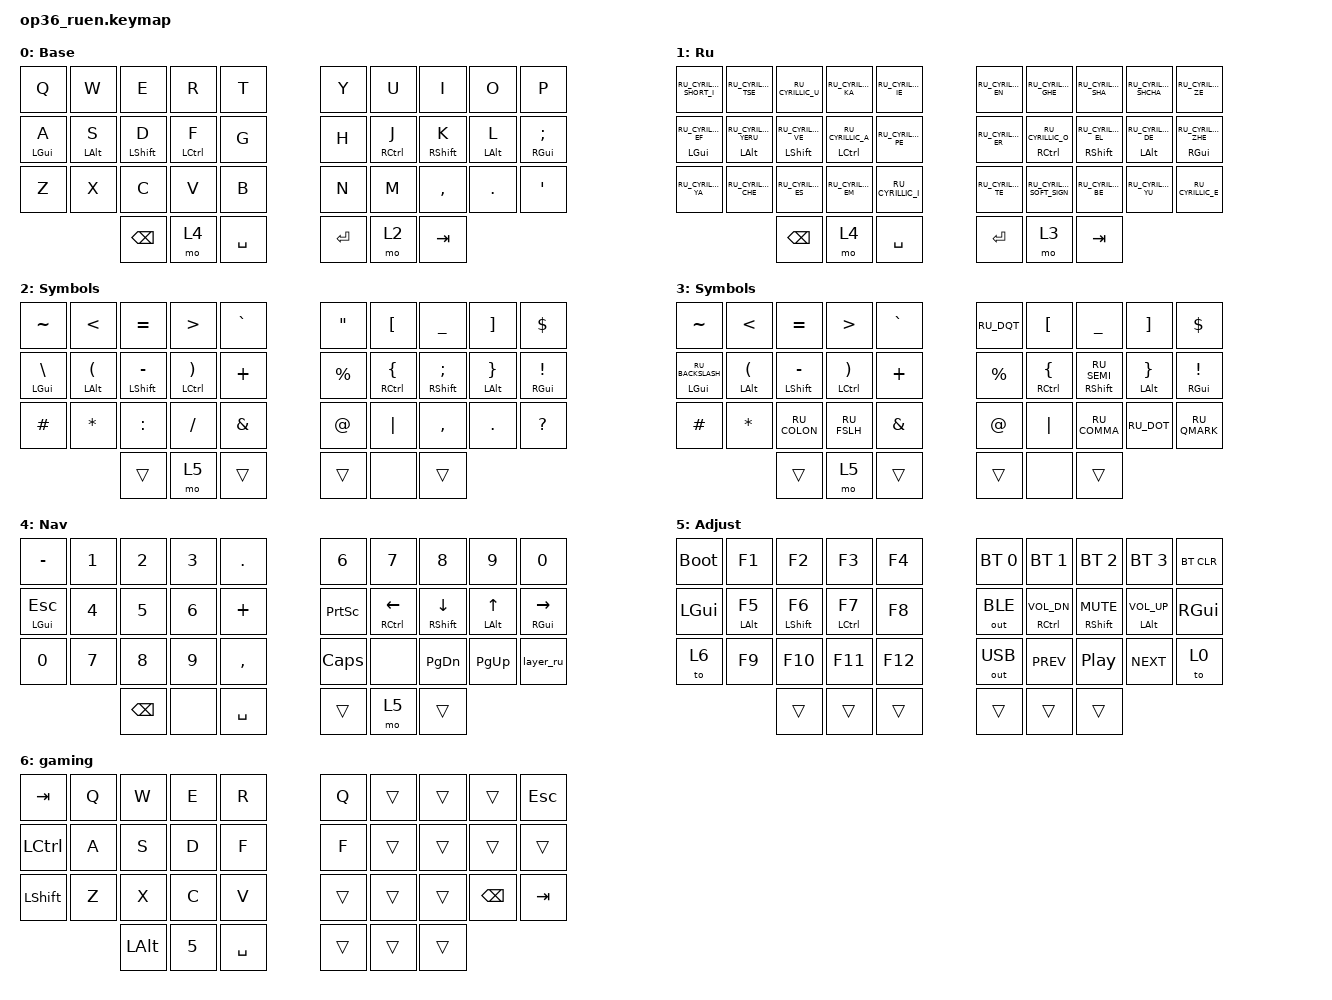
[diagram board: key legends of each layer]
#include "keys_ru.h"
#include "keys_ru.h"
#include <behaviors.dtsi>
#include <dt-bindings/zmk/bt.h>
#include <dt-bindings/zmk/keys.h>
#include <dt-bindings/zmk/outputs.h>

&mt {
    quick-tap-ms = <200>;
    flavor = "tap-preferred";
    require-prior-idle-ms = <125>;
};

/ {
    behaviors {
        hml: home_row_mod_left {
            compatible = "zmk,behavior-hold-tap";
            #binding-cells = <2>;
            flavor = "balanced";
            require-prior-idle-ms = <150>;
            tapping-term-ms = <280>;
            quick-tap-ms = <175>;
            bindings = <&kp>, <&kp>;

            hold-trigger-key-positions = <5 6 7 8 9 15 16 17 18 19 25 26 27 28 29 33 34 35>;
            hold-trigger-on-release;
        };

        hmr: home_row_mod_right {
            compatible = "zmk,behavior-hold-tap";
            #binding-cells = <2>;
            flavor = "balanced";
            require-prior-idle-ms = <150>;
            tapping-term-ms = <280>;
            quick-tap-ms = <175>;
            bindings = <&kp>, <&kp>;

            hold-trigger-key-positions = <0 1 2 3 4 10 11 12 13 14 20 21 22 23 24 30 31 32>;
            hold-trigger-on-release;
        };
    };

    combos {
        compatible = "zmk,combos";

        kha {
            bindings = <&kp RU_CYRILLIC_HA>;
            key-positions = <6 7>;
            layers = <1>;
        };

        hrdsgn {
            bindings = <&kp RU_CYRILLIC_HARD_SIGN>;
            key-positions = <7 8>;
            layers = <1>;
        };

        cmben {
            bindings = <&layer_en>;
            key-positions = <2 3>;
            layers = <1>;
        };

        cmbru {
            bindings = <&layer_ru>;
            key-positions = <2 3>;
            layers = <0>;
        };

        yo {
            bindings = <&kp RU_CYRILLIC_IO>;
            key-positions = <4 3>;
            layers = <1>;
        };

        gaming_to_en {
            bindings = <&to 0>;
            key-positions = <33 34 35>;
        };
    };

    macros {
        to_ru: to_ru {
            compatible = "zmk,behavior-macro";
            #binding-cells = <0>;
            bindings = <&kp LS(LC(N2))>;
            label = "TO_RU";
            wait-ms = <0>;
            tap-ms = <30>;
        };

        to_en: to_en {
            compatible = "zmk,behavior-macro";
            #binding-cells = <0>;
            bindings = <&kp LS(LC(N1))>;
            label = "TO_EN";
            wait-ms = <0>;
            tap-ms = <30>;
        };

        layer_en: layer_en {
            compatible = "zmk,behavior-macro";
            #binding-cells = <0>;
            bindings = <&to 0 &to_en>;
            label = "LAYER_EN";
            wait-ms = <0>;
            tap-ms = <30>;
        };

        layer_ru: layer_ru {
            compatible = "zmk,behavior-macro";
            #binding-cells = <0>;
            bindings = <&to 1 &to_ru>;
            label = "LAYER_RU";
            tap-ms = <30>;
            wait-ms = <0>;
        };
    };

    keymap {
        compatible = "zmk,keymap";

        en {
            bindings = <
  &kp Q        &kp W        &kp E         &kp R          &kp T                          &kp Y  &kp U         &kp I         &kp O        &kp P
  &hml LGUI A  &hml LALT S  &hml LSHFT D  &hml LCTRL F   &kp G                          &kp H  &hmr RCTRL J  &hmr RSHFT K  &hmr LALT L  &hmr RGUI SEMICOLON
  &kp Z        &kp X        &kp C         &kp V          &kp B                          &kp N  &kp M         &kp COMMA     &kp DOT      &kp SQT
                                          &kp BACKSPACE  &mo 4  &kp SPACE    &kp ENTER  &mo 2  &kp TAB
            >;

            display-name = "Base";
        };

        ru {
            bindings = <
  &kp RU_CYRILLIC_SHORT_I   &kp RU_CYRILLIC_TSE         &kp RU_CYRILLIC_U          &kp RU_CYRILLIC_KA        &kp RU_CYRILLIC_IE                          &kp RU_CYRILLIC_EN  &kp RU_CYRILLIC_GHE        &kp RU_CYRILLIC_SHA        &kp RU_CYRILLIC_SHCHA     &kp RU_CYRILLIC_ZE
  &hml LGUI RU_CYRILLIC_EF  &hml LALT RU_CYRILLIC_YERU  &hml LSHFT RU_CYRILLIC_VE  &hml LCTRL RU_CYRILLIC_A  &kp RU_CYRILLIC_PE                          &kp RU_CYRILLIC_ER  &hmr RCTRL RU_CYRILLIC_O   &hmr RSHFT RU_CYRILLIC_EL  &hmr LALT RU_CYRILLIC_DE  &hmr RGUI RU_CYRILLIC_ZHE
  &kp RU_CYRILLIC_YA        &kp RU_CYRILLIC_CHE         &kp RU_CYRILLIC_ES         &kp RU_CYRILLIC_EM        &kp RU_CYRILLIC_I                           &kp RU_CYRILLIC_TE  &kp RU_CYRILLIC_SOFT_SIGN  &kp RU_CYRILLIC_BE         &kp RU_CYRILLIC_YU        &kp RU_CYRILLIC_E
                                                                                   &kp BACKSPACE             &mo 4               &kp SPACE    &kp ENTER  &mo 3               &kp TAB
            >;

            display-name = "Ru";
        };

        sym_en {
            bindings = <
  &kp TILDE       &kp LT          &kp EQUAL         &kp GT           &kp GRAVE                    &kp DQT    &kp LBKT         &kp UNDER        &kp RBKT        &kp DLLR
  &hml LGUI BSLH  &hml LALT LPAR  &hml LSHFT MINUS  &hml LCTRL RPAR  &kp PLUS                     &kp PRCNT  &hmr RCTRL LBRC  &hmr RSHFT SEMI  &hmr LALT RBRC  &hmr RGUI EXCL
  &kp HASH        &kp STAR        &kp COLON         &kp FSLH         &kp AMPS                     &kp AT     &kp PIPE         &kp COMMA        &kp DOT         &kp QMARK
                                                    &trans           &mo 5      &trans    &trans  &none      &trans
            >;

            display-name = "Symbols";
        };

        sym_ru {
            bindings = <
  &kp TILDE               &kp LESS_THAN   &kp EQUAL         &kp GREATER_THAN  &kp GRAVE                        &kp RU_DQT   &kp LEFT_BRACKET       &kp UNDER           &kp RIGHT_BRACKET          &kp DOLLAR
  &hml LGUI RU_BACKSLASH  &hml LALT LPAR  &hml LSHFT MINUS  &hml LCTRL RPAR   &kp PLUS                         &kp PRCNT    &hmr RCTRL LEFT_BRACE  &hmr RSHFT RU_SEMI  &hmr LEFT_ALT RIGHT_BRACE  &hmr RGUI EXCL
  &kp HASH                &kp STAR        &kp RU_COLON      &kp RU_FSLH       &kp AMPERSAND                    &kp AT_SIGN  &kp PIPE               &kp RU_COMMA        &kp RU_DOT                 &kp RU_QMARK
                                                            &trans            &mo 5          &trans    &trans  &none        &trans
            >;

            display-name = "Symbols";
        };

        nav {
            bindings = <
  &kp MINUS      &kp NUMBER_1  &kp NUMBER_2  &kp NUMBER_3   &kp DOT                         &kp N6           &kp N7           &kp N8           &kp N9        &kp N0
  &hml LGUI ESC  &kp NUMBER_4  &kp NUMBER_5  &kp NUMBER_6   &kp PLUS                        &kp PRINTSCREEN  &hmr RCTRL LEFT  &hmr RSHFT DOWN  &hmr LALT UP  &hmr RGUI RIGHT
  &kp NUMBER_0   &kp NUMBER_7  &kp NUMBER_8  &kp NUMBER_9   &kp COMMA                       &kp CAPS         &none            &kp PG_DN        &kp PG_UP     &layer_ru
                                             &kp BACKSPACE  &none      &kp SPACE    &trans  &mo 5            &trans
            >;

            display-name = "Nav";
        };

        adj {
            bindings = <
  &bootloader  &kp F1        &kp F2         &kp F3         &kp F4                     &bt BT_SEL 0  &bt BT_SEL 1         &bt BT_SEL 2       &bt BT_SEL 3        &bt BT_CLR
  &kp LGUI     &hml LALT F5  &hml LSHFT F6  &hml LCTRL F7  &kp F8                     &out OUT_BLE  &hmr RCTRL C_VOL_DN  &hmr RSHFT C_MUTE  &hmr LALT C_VOL_UP  &kp RGUI
  &to 6        &kp F9        &kp F10        &kp F11        &kp F12                    &out OUT_USB  &kp C_PREV           &kp C_PP           &kp C_NEXT          &to 0
                                            &trans         &trans   &trans    &trans  &trans        &trans
            >;

            display-name = "Adjust";
        };

        gaming {
            bindings = <
  &kp TAB         &kp Q  &kp W  &kp E         &kp R                              &kp Q   &trans  &trans  &trans         &kp ESC
  &kp LCTRL       &kp A  &kp S  &kp D         &kp F                              &kp F   &trans  &trans  &trans         &trans
  &kp LEFT_SHIFT  &kp Z  &kp X  &kp C         &kp V                              &trans  &trans  &trans  &kp BACKSPACE  &kp TAB
                                &kp LEFT_ALT  &kp NUMBER_5  &kp SPACE    &trans  &trans  &trans
            >;
        };
    };
};
